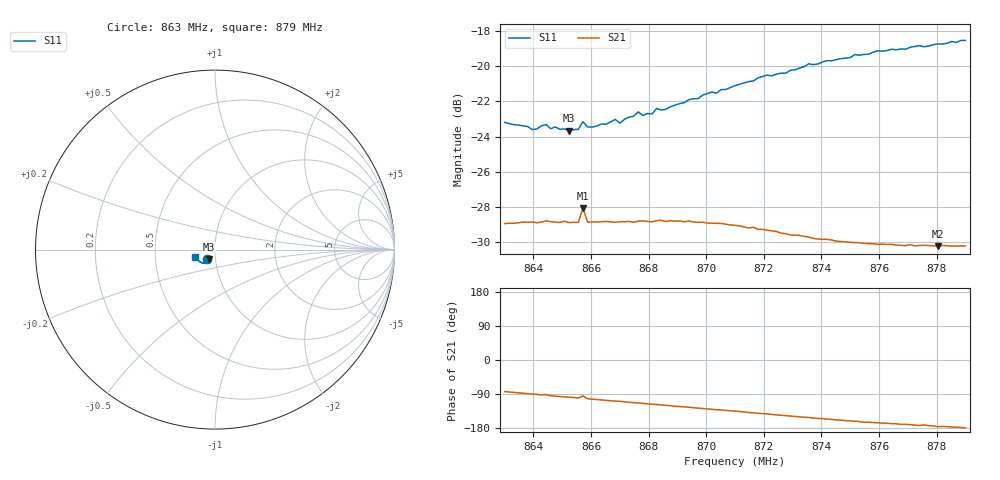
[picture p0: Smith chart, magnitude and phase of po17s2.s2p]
# HZ S RI R 50
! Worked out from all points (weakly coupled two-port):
!   101 points, 863 MHz to 879 MHz, reference 50 ohm
!   highest |S21| = -28.04 dB at 865.72 MHz (marker M1); lowest = -30.2 dB at 878.04 MHz (marker M2)
!   lowest |S11| = -23.7 dB at 865.24 MHz (marker M3), VSWR 1.14, Z = 46.3 - j5.12 ohm
!   |S11| at or under -10 dB: start of sweep to end of sweep
!   S12 and S22 are empty: the file has one direction only
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8.63e8  -0.0433 -0.0541  0.00417 -0.0355  0 0  0 0
8.6396e8  -0.0394 -0.0531  3.7e-05 -0.0362  0 0  0 0
8.6444e8  -0.0406 -0.0549  -0.000689 -0.0364  0 0  0 0
8.646e8  -0.0373 -0.055  -0.00264 -0.0361  0 0  0 0
8.6476e8  -0.0384 -0.0552  -0.00333 -0.0359  0 0  0 0
8.6524e8  -0.0356 -0.0551  -0.00525 -0.0356  0 0  0 0
8.6556e8  -0.0353 -0.0561  -0.00649 -0.0355  0 0  0 0
8.6572e8  -0.0273 -0.064  -0.00328 -0.0395  0 0  0 0
8.6588e8  -0.0347 -0.0577  -0.00763 -0.0353  0 0  0 0
8.6652e8  -0.0332 -0.0599  -0.0103 -0.0348  0 0  0 0
8.6684e8  -0.0338 -0.062  -0.0114 -0.0342  0 0  0 0
8.67e8  -0.0337 -0.0601  -0.0118 -0.0342  0 0  0 0
8.6764e8  -0.0359 -0.065  -0.0144 -0.0334  0 0  0 0
8.678e8  -0.0355 -0.0632  -0.0151 -0.0331  0 0  0 0
8.6812e8  -0.0349 -0.0644  -0.0163 -0.0323  0 0  0 0
8.6828e8  -0.0362 -0.0667  -0.0168 -0.0324  0 0  0 0
8.6844e8  -0.0358 -0.0661  -0.0175 -0.0321  0 0  0 0
8.71e8  -0.0479 -0.0739  -0.025 -0.025  0 0  0 0
8.7372e8  -0.0679 -0.0748  -0.029 -0.0147  0 0  0 0
8.7644e8  -0.093 -0.0619  -0.0305 -0.00653  0 0  0 0
8.7804e8  -0.1045 -0.0495  -0.0308 -0.00212  0 0  0 0
8.79e8  -0.1115 -0.0397  -0.0309 -0.000573  0 0  0 0
